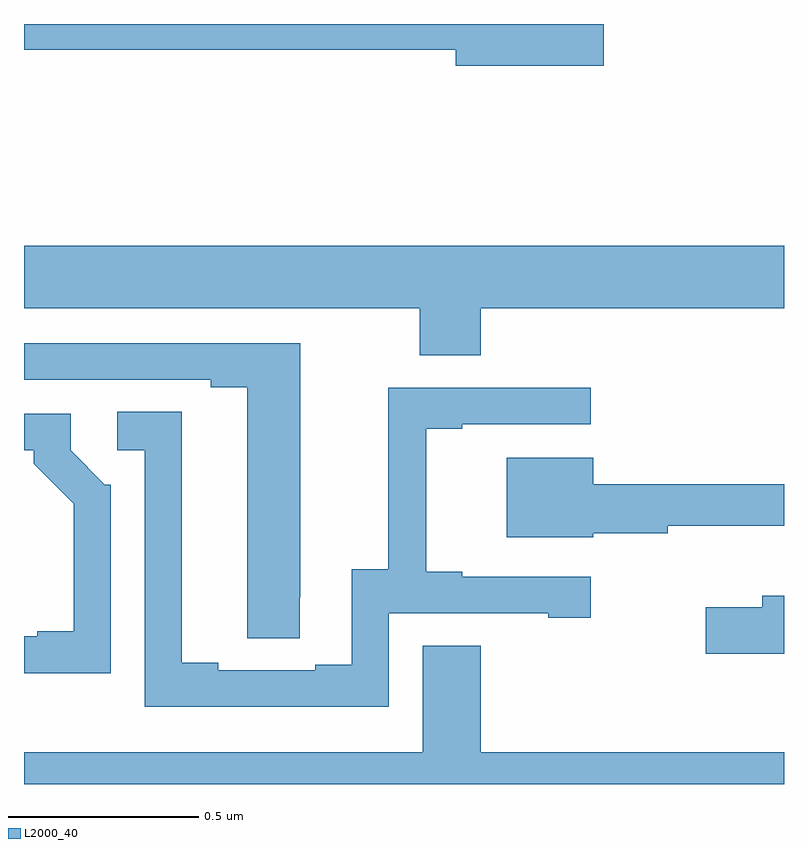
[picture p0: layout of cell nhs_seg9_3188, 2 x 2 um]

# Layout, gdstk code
import gdstk
lib = gdstk.Library(unit=1e-6, precision=1e-09)
def P(c, l, *ps):  # polygons
    for p in ps: c.add(gdstk.Polygon(p, *l))
L2000_40 = (2000, 40)

nhs_seg9_3188 = lib.new_cell('nhs_seg9_3188')
P(nhs_seg9_3188, L2000_40, [(151.525,1198.5),(150,1198.5),(150,1198.432),(151.136,1198.432),(151.136,1198.39),(151.525,1198.39)],
  [(151.202,1197.752),(152,1197.752),(152,1197.916),(150,1197.916),(150,1197.752),(151.042,1197.752),(151.042,1197.628),(151.202,1197.628)],
  [(150.726,1196.992),(150.727,1196.992),(150.727,1197.66),(150,1197.66),(150,1197.564),(150.491,1197.564),(150.491,1197.544),(150.587,1197.544),(150.587,1196.884),(150.726,1196.884)],
  [(150.96,1196.949),(151.379,1196.949),(151.379,1196.937),(151.492,1196.937),(151.492,1197.045),(151.153,1197.045),(151.153,1197.058),(151.058,1197.058),(151.058,1197.435),(151.153,1197.435),(151.153,1197.447),(151.492,1197.447),(151.492,1197.543),(150.958,1197.543),(150.958,1197.065),(150.863,1197.065),(150.863,1196.814),(150.767,1196.814),(150.767,1196.799),(150.511,1196.799),(150.511,1196.819),(150.415,1196.819),(150.415,1197.479),(150.246,1197.479),(150.246,1197.378),(150.318,1197.378),(150.318,1196.703),(150.96,1196.703)],
  [(150.228,1197.288),(150.213,1197.288),(150.123,1197.378),(150.123,1197.474),(150,1197.474),(150,1197.378),(150.026,1197.378),(150.026,1197.343),(150.131,1197.238),(150.131,1196.902),(150.035,1196.902),(150.035,1196.889),(150,1196.889),(150,1196.792),(150.228,1196.792)],
  [(151.498,1197.16),(151.694,1197.16),(151.694,1197.179),(152,1197.179),(152,1197.289),(151.498,1197.289),(151.498,1197.358),(151.271,1197.358),(151.271,1197.149),(151.498,1197.149)],
  [(152,1196.995),(151.943,1196.995),(151.943,1196.965),(151.794,1196.965),(151.794,1196.843),(152,1196.843)],
  [(152,1196.584),(151.202,1196.584),(151.202,1196.864),(151.049,1196.864),(151.049,1196.584),(150,1196.584),(150,1196.5),(152,1196.5)])

lib.write_gds('nhs_seg9_3188.gds')
